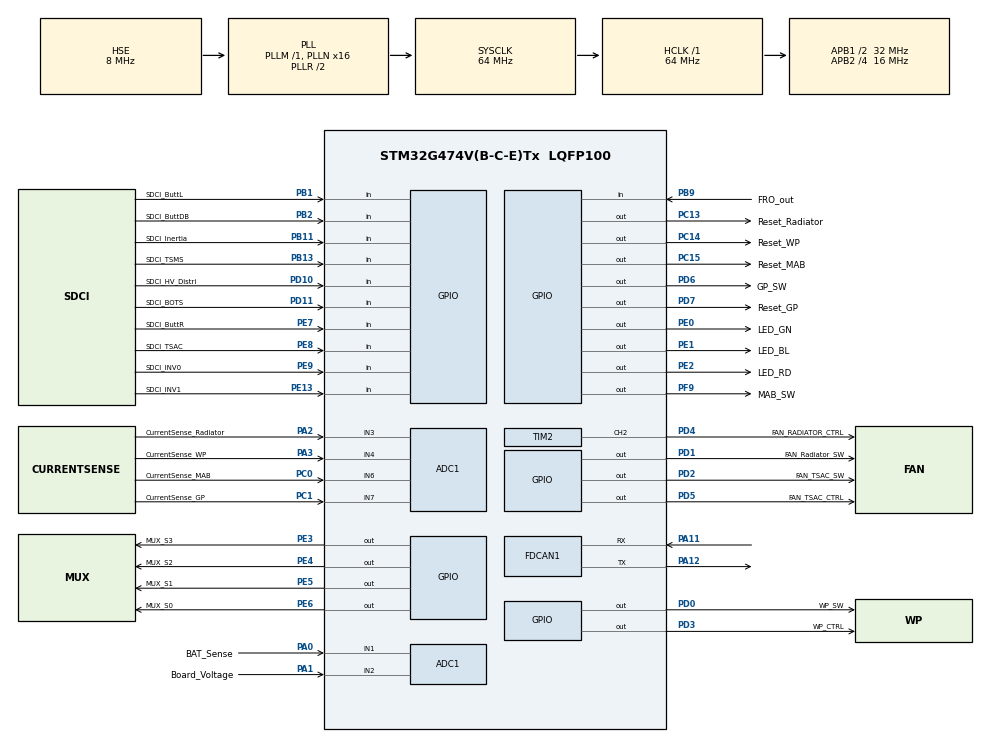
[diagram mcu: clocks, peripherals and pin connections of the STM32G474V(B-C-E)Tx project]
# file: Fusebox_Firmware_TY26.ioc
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ADC1.Channel-0\#ChannelRegularConversion=ADC_CHANNEL_2
ADC1.NbrOfConversion=1
ADC1.NbrOfConversionFlag=1
ADC1.OffsetNumber-0\#ChannelRegularConversion=ADC_OFFSET_NONE
ADC1.OversamplingMode=ENABLE
ADC1.Rank-0\#ChannelRegularConversion=1
ADC1.Ratio=ADC_OVERSAMPLING_RATIO_16
ADC1.RightBitShift=ADC_RIGHTBITSHIFT_4
ADC1.SamplingTime-0\#ChannelRegularConversion=ADC_SAMPLETIME_92CYCLES_5
ADC1.master=1
FDCAN1.AutoRetransmission=ENABLE
FDCAN1.CalculateBaudRateNominal=500000
FDCAN1.CalculateTimeBitNominal=2000
FDCAN1.CalculateTimeQuantumNominal=125.0
FDCAN1.DataPrescaler=1
FDCAN1.DataSyncJumpWidth=1
FDCAN1.DataTimeSeg1=1
FDCAN1.DataTimeSeg2=1
FDCAN1.FrameFormat=FDCAN_FRAME_CLASSIC
FDCAN1.Mode=FDCAN_MODE_NORMAL
FDCAN1.NominalPrescaler=4
FDCAN1.NominalSyncJumpWidth=1
FDCAN1.NominalTimeSeg1=13
FDCAN1.NominalTimeSeg2=2
FDCAN1.StdFiltersNbr=2
FDCAN1.TransmitPause=DISABLE
Mcu.Family=STM32G4
Mcu.Name=STM32G474V(B-C-E)Tx
Mcu.Package=LQFP100
NVIC.FDCAN1_IT0_IRQn=true\:0\:0\:false\:false\:true\:true\:true\:true
NVIC.PriorityGroup=NVIC_PRIORITYGROUP_4
NVIC.TIM1_BRK_TIM15_IRQn=true\:0\:0\:false\:false\:true\:true\:true\:true
NVIC.TIM1_CC_IRQn=true\:0\:0\:false\:false\:true\:true\:true\:true
NVIC.TIM1_TRG_COM_TIM17_IRQn=true\:0\:0\:false\:false\:true\:true\:true\:true
NVIC.TIM1_UP_TIM16_IRQn=true\:0\:0\:false\:false\:true\:true\:true\:true
NVIC.TIM6_DAC_IRQn=true\:1\:0\:true\:false\:true\:true\:true\:true
PA0.GPIO_Label=BAT_Sense
PA0.Mode=IN1-Single-Ended
PA0.Signal=ADC1_IN1
PA1.GPIO_Label=Board_Voltage
PA1.Mode=IN2-Single-Ended
PA1.Signal=ADC1_IN2
PA11.Mode=FDCAN_Activate
PA11.Signal=FDCAN1_RX
PA12.Mode=FDCAN_Activate
PA12.Signal=FDCAN1_TX
PA13.Mode=JTAG_4_pins
PA13.Signal=SYS_JTMS-SWDIO
PA14.Mode=JTAG_4_pins
PA14.Signal=SYS_JTCK-SWCLK
PA15.Mode=JTAG_4_pins
PA15.Signal=SYS_JTDI
PA2.GPIO_Label=CurrentSense_Radiator
PA2.Mode=IN3-Single-Ended
PA2.Signal=ADC1_IN3
PA3.GPIO_Label=CurrentSense_WP
PA3.Mode=IN4-Single-Ended
PA3.Signal=ADC1_IN4
PB1.GPIO_Label=SDCI_ButtL
PB1.Signal=GPIO_Input
PB11.GPIO_Label=SDCI_Inertia
PB11.Signal=GPIO_Input
PB13.GPIO_Label=SDCI_TSMS
PB13.Signal=GPIO_Input
PB2.GPIO_Label=SDCI_ButtDB
PB2.Signal=GPIO_Input
PB3.Mode=JTAG_4_pins
PB3.Signal=SYS_JTDO-SWO
PB9.GPIO_Label=FRO_out
PB9.Signal=GPIO_Input
PC0.GPIO_Label=CurrentSense_MAB
PC0.Mode=IN6-Single-Ended
PC0.Signal=ADC1_IN6
PC1.GPIO_Label=CurrentSense_GP
PC1.Mode=IN7-Single-Ended
PC1.Signal=ADC1_IN7
PC13.GPIO_Label=Reset_Radiator
PC13.Signal=GPIO_Output
PC14-OSC32_IN.GPIO_Label=Reset_WP
PC14-OSC32_IN.Signal=GPIO_Output
PC15-OSC32_OUT.GPIO_Label=Reset_MAB
PC15-OSC32_OUT.Signal=GPIO_Output
PD0.GPIO_Label=WP_SW
PD0.Signal=GPIO_Output
PD1.GPIO_Label=FAN_Radiator_SW
PD1.Signal=GPIO_Output
PD10.GPIO_Label=SDCI_HV_Distri
PD10.Signal=GPIO_Input
PD11.GPIO_Label=SDCI_BOTS
PD11.Signal=GPIO_Input
PD2.GPIO_Label=FAN_TSAC_SW
PD2.Signal=GPIO_Output
PD3.GPIO_Label=WP_CTRL
PD3.Signal=GPIO_Output
PD4.GPIO_Label=FAN_RADIATOR_CTRL
PD4.Signal=S_TIM2_CH2
PD5.GPIO_Label=FAN_TSAC_CTRL
PD5.GPIO_ModeDefaultOutputPP=GPIO_MODE_OUTPUT_OD
PD5.GPIO_PuPd=GPIO_NOPULL
PD5.Signal=GPIO_Output
PD6.GPIO_Label=GP_SW
PD6.Signal=GPIO_Output
PD7.GPIO_Label=Reset_GP
PD7.Signal=GPIO_Output
PE0.GPIO_Label=LED_GN
PE0.Signal=GPIO_Output
PE1.GPIO_Label=LED_BL
PE1.PinState=GPIO_PIN_SET
PE1.Signal=GPIO_Output
PE13.GPIO_Label=SDCI_INV1
PE13.Signal=GPIO_Input
PE2.GPIO_Label=LED_RD
PE2.PinState=GPIO_PIN_SET
PE2.Signal=GPIO_Output
PE3.GPIO_Label=MUX_S3
PE3.Signal=GPIO_Output
PE4.GPIO_Label=MUX_S2
PE4.Signal=GPIO_Output
PE5.GPIO_Label=MUX_S1
PE5.Signal=GPIO_Output
PE6.GPIO_Label=MUX_S0
PE6.Signal=GPIO_Output
PE7.GPIO_Label=SDCI_ButtR
PE7.Signal=GPIO_Input
PE8.GPIO_Label=SDCI_TSAC
PE8.Signal=GPIO_Input
PE9.GPIO_Label=SDCI_INV0
PE9.Signal=GPIO_Input
PF0-OSC_IN.Mode=HSE-External-Oscillator
PF0-OSC_IN.Signal=RCC_OSC_IN
PF1-OSC_OUT.Mode=HSE-External-Oscillator
PF1-OSC_OUT.Signal=RCC_OSC_OUT
PF9.GPIO_Label=MAB_SW
PF9.Signal=GPIO_Output
ProjectManager.HeapSize=0x200
ProjectManager.StackSize=0x400
ProjectManager.TargetToolchain=STM32CubeIDE
RCC.ADC12Freq_Value=64000000
RCC.ADC345Freq_Value=64000000
RCC.AHBFreq_Value=64000000
RCC.APB1CLKDivider=RCC_HCLK_DIV2
RCC.APB1Freq_Value=32000000
RCC.APB1TimFreq_Value=64000000
RCC.APB2CLKDivider=RCC_HCLK_DIV4
RCC.APB2Freq_Value=16000000
RCC.APB2TimFreq_Value=32000000
RCC.CortexFreq_Value=64000000
RCC.EXTERNAL_CLOCK_VALUE=12288000
RCC.HCLKFreq_Value=64000000
RCC.HSE_VALUE=8000000
RCC.HSI48_VALUE=48000000
RCC.HSI_VALUE=16000000
RCC.LSE_VALUE=32768
RCC.PLLN=16
RCC.PLLSourceVirtual=RCC_PLLSOURCE_HSE
RCC.SYSCLKFreq_VALUE=64000000
RCC.SYSCLKSource=RCC_SYSCLKSOURCE_PLLCLK
RCC.USBFreq_Value=64000000
RCC.VCOOutputFreq_Value=128000000
SH.S_TIM2_CH2.0=TIM2_CH2,PWM Generation2 CH2
TIM1.PeriodNoDither=1000
TIM1.Prescaler=32-1
TIM2.AutoReloadPreload=TIM_AUTORELOAD_PRELOAD_ENABLE
TIM2.Channel-PWM\ Generation2\ CH2=TIM_CHANNEL_2
TIM2.PeriodNoDither=999
TIM2.Prescaler=15
TIM6.PeriodNoDither=2149
TIM6.Prescaler=63
VP_SYS_VS_DBSignals.Mode=DisableDeadBatterySignals
VP_TIM1_VS_ClockSourceINT.Mode=Internal
VP_TIM2_VS_ClockSourceINT.Mode=Internal
VP_TIM6_VS_ClockSourceINT.Mode=Enable_Timer
board=custom

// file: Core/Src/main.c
/* USER CODE BEGIN Header */
/**
  ******************************************************************************
  * @file           : main.c
  * @brief          : Main program body
  ******************************************************************************
  * @attention
  *
  * Copyright (c) 2026 STMicroelectronics.
  * All rights reserved.
  *
  * This software is licensed under terms that can be found in the LICENSE file
  * in the root directory of this software component.
  * If no LICENSE file comes with this software, it is provided AS-IS.
  *
  ******************************************************************************
  */
/* USER CODE END Header */
#include "main.h"
#include "adc.h"
#include "fdcan.h"
#include "tim.h"
#include "gpio.h"

/* USER CODE BEGIN Includes */
#include "sdc.h"
#include "FRO.h"
#include "CAN_DATA.h"
#include "voltage_sense.h"
#include "current_sense.h"
#include "cooling_control.h"
/* USER CODE END Includes */

/* USER CODE BEGIN PV */
extern volatile uint32_t sys_time;
/* USER CODE END PV */

void SystemClock_Config(void);

int main(void)
{

  /* USER CODE BEGIN 1 */
	uint32_t last10 = 0U;
	uint32_t last100 = 0U;
	uint32_t last1000 = 0U;
  /* USER CODE END 1 */

  /* MCU Configuration--------------------------------------------------------*/

  /* Reset of all peripherals, Initializes the Flash interface and the Systick. */
  HAL_Init();

  /* Configure the system clock */
  SystemClock_Config();

  /* Initialize all configured peripherals */
  MX_GPIO_Init();
  MX_ADC1_Init();
  MX_FDCAN1_Init();
  MX_TIM1_Init();
  MX_TIM2_Init();
  MX_TIM6_Init();
  /* USER CODE BEGIN 2 */

  if (HAL_TIM_Base_Start_IT(&htim1) != HAL_OK)
  {
      Error_Handler();
  }

  CAN_DATA_Init();
  FRO_Init(HAL_GetTick());
  // Start FDCAN1
  if(HAL_FDCAN_Start(&hfdcan1)!= HAL_OK)
  {

   Error_Handler();
  }

  // Activate the notification for new data in FIFO0 for FDCAN1

  if (HAL_FDCAN_ActivateNotification(&hfdcan1, FDCAN_IT_RX_FIFO0_NEW_MESSAGE, 0) != HAL_OK)
  {
    /* Notification Error */
    Error_Handler();
  }
  // start PWM
  HAL_TIM_PWM_Start(&htim2, TIM_CHANNEL_2);

  // set to 0% duty cycle
  __HAL_TIM_SET_COMPARE(&htim2, TIM_CHANNEL_2, 0);

  TSAC_PWM_Init();

  /* USER CODE END 2 */

  /* Infinite loop */
  /* USER CODE BEGIN WHILE */
  while (1)
  {
      FRO_Task(HAL_GetTick());

      /* Messungen, Berechnung und CAN in ursprünglicher Reihenfolge. */
      /* Messungen, Berechnung und CAN in ursprünglicher Reihenfolge. */
      if (sys_time >= last10 + 10U)
      {
          VOLTAGE_SENSE_Read();
          CURRENT_SENSE_Update();
          VOLTAGE_SENSE_Update();

          CAN_DATA_SendFusebox0(VOLTAGE_SENSE_GetBatSense(),
                               VOLTAGE_SENSE_GetBoardVoltage(),
                               sdc_status);

          CAN_DATA_SendCurrentSense();

          last10 = sys_time;
      }

      /* SDC, Lüfterregelung und Status-LED. */
      if (sys_time >= last100 + 100U)
      {
          SDC_ReadAll();
          COOLING_CONTROL_Update();
          STATUS_LED_Update();
          CAN_DATA_SendTsacPWM();

          last100 = sys_time;
      }

      /* Startablauf für Pumpen und Lüfter. */
      if (sys_time >= last1000 + 1000U)
      {
          COOLING_CONTROL_Startup(sys_time);

          last1000 = sys_time;
      }

    /* USER CODE END WHILE */

  }
}

void SystemClock_Config(void)
{
  RCC_OscInitTypeDef RCC_OscInitStruct = {0};
  RCC_ClkInitTypeDef RCC_ClkInitStruct = {0};

  /** Configure the main internal regulator output voltage
  */
  HAL_PWREx_ControlVoltageScaling(PWR_REGULATOR_VOLTAGE_SCALE1);

  /** Initializes the RCC Oscillators according to the specified parameters
  * in the RCC_OscInitTypeDef structure.
  */
  RCC_OscInitStruct.OscillatorType = RCC_OSCILLATORTYPE_HSE;
  RCC_OscInitStruct.HSEState = RCC_HSE_ON;
  RCC_OscInitStruct.PLL.PLLState = RCC_PLL_ON;
  RCC_OscInitStruct.PLL.PLLSource = RCC_PLLSOURCE_HSE;
  RCC_OscInitStruct.PLL.PLLM = RCC_PLLM_DIV1;
  RCC_OscInitStruct.PLL.PLLN = 16;
  RCC_OscInitStruct.PLL.PLLP = RCC_PLLP_DIV2;
  RCC_OscInitStruct.PLL.PLLQ = RCC_PLLQ_DIV2;
  RCC_OscInitStruct.PLL.PLLR = RCC_PLLR_DIV2;
  if (HAL_RCC_OscConfig(&RCC_OscInitStruct) != HAL_OK)
  {
    Error_Handler();
  }

  /** Initializes the CPU, AHB and APB buses clocks
  */
  RCC_ClkInitStruct.ClockType = RCC_CLOCKTYPE_HCLK|RCC_CLOCKTYPE_SYSCLK
                              |RCC_CLOCKTYPE_PCLK1|RCC_CLOCKTYPE_PCLK2;
  RCC_ClkInitStruct.SYSCLKSource = RCC_SYSCLKSOURCE_PLLCLK;
  RCC_ClkInitStruct.AHBCLKDivider = RCC_SYSCLK_DIV1;
  RCC_ClkInitStruct.APB1CLKDivider = RCC_HCLK_DIV2;
  RCC_ClkInitStruct.APB2CLKDivider = RCC_HCLK_DIV4;

  if (HAL_RCC_ClockConfig(&RCC_ClkInitStruct, FLASH_LATENCY_2) != HAL_OK)
  {
    Error_Handler();
  }
}

void Error_Handler(void)
{
  __disable_irq();
  while (1)
  {
  }
}
